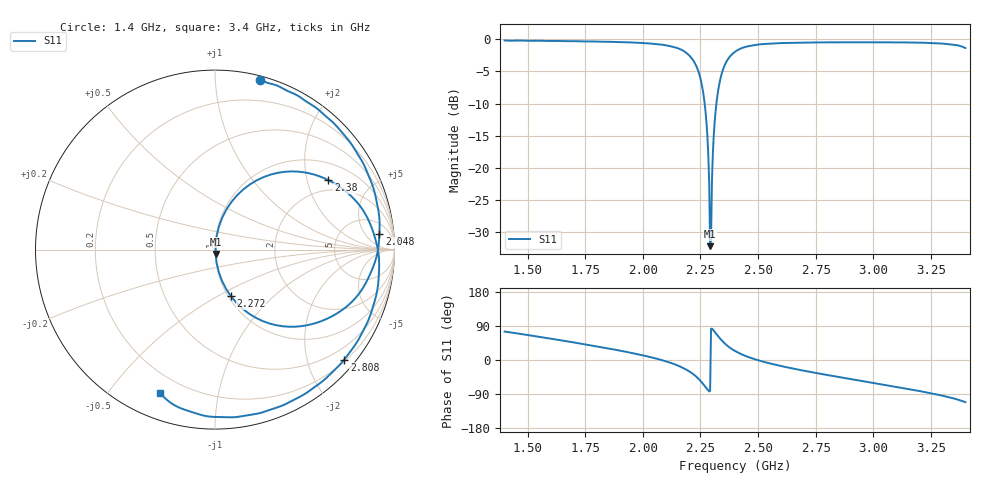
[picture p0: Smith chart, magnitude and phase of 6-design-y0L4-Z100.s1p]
#  Hz  S  RI  R  50
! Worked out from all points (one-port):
!   501 points, 1.4 GHz to 3.4 GHz, reference 50 ohm
!   lowest |S11| = -32.2 dB at 2.292 GHz (marker M1), VSWR 1.05, Z = 50.3 - j2.46 ohm
!   |S11| at or under -10 dB: 2.268 GHz to 2.319 GHz (51.02 MHz wide, 2.22 % of centre)
!   S11 on the Smith chart (normalised r, x): 1.4 GHz: 0.03, +1.30; 2.048 GHz: 11, +12; 2.272 GHz: 1.03, -0.58; 2.38 GHz: 1.58, +2.71; 2.808 GHz: 0.23, -2.70; 3.4 GHz: 0.12, -0.68
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1.4e9  0.253 0.945
1.652e9  0.6064 0.7526
1.9e9  0.8611 0.3993
2.048e9  0.9157 0.086
2.152e9  0.8235 -0.2148
2.196e9  0.6738 -0.3591
2.232e9  0.4465 -0.4296
2.256e9  0.2267 -0.3796
2.272e9  0.0885 -0.2596
2.28e9  0.0389 -0.1737
2.288e9  0.00954 -0.0759
2.292e9  0.00358 -0.0244
2.296e9  0.00371 0.0275
2.3e9  0.00994 0.079
2.308e9  0.0399 0.1772
2.316e9  0.0903 0.2638
2.324e9  0.1562 0.334
2.348e9  0.3881 0.4334
2.38e9  0.6319 0.3869
2.4e9  0.7296 0.3236
2.44e9  0.8473 0.1804
2.496e9  0.9068 0.00293
2.652e9  0.867 -0.3608
2.808e9  0.7199 -0.6132
2.9e9  0.6061 -0.7276
3.152e9  0.2189 -0.9171
3.296e9  -0.0587 -0.9257
3.4e9  -0.3081 -0.797
